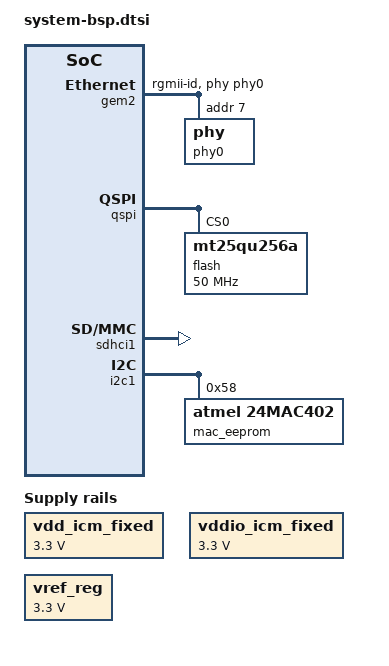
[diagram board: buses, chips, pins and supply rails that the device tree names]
#include "include/dt-bindings/input/input.h"
#include "include/dt-bindings/interrupt-controller/irq.h"
#include "include/dt-bindings/gpio/gpio.h"
#include "include/dt-bindings/pinctrl/pinctrl-zynqmp.h"
#include "include/dt-bindings/phy/phy.h"

/ {
   chosen {
      bootargs = "earlycon console=ttyPS0,115200 clk_ignore_unused root=/dev/mmcblk0p2 rw rootwait cma=512M";
      xlnx,eeprom= &mac_eeprom;
   };

   xlnk {
      compatible = "xlnx,xlnk-1.0";
   };

   vdd_icm_fixed: vdd_icm_fixed {
         compatible = "regulator-fixed";
         regulator-name = "vdd_icm_fixed";
         regulator-min-microvolt = <3300000>;
         regulator-max-microvolt = <3300000>;
         regulator-always-on;
         regulator-boot-on;
   };

   vddio_icm_fixed: vddio_icm_fixed {
         compatible = "regulator-fixed";
         regulator-name = "vddio_icm_fixed";
         regulator-min-microvolt = <3300000>;
         regulator-max-microvolt = <3300000>;
         regulator-always-on;
         regulator-boot-on;
   };

   vref_reg: vref_reg {
         compatible = "regulator-fixed";
         regulator-name = "vref_reg";
         regulator-min-microvolt = <3300000>;
         regulator-max-microvolt = <3300000>;
         regulator-always-on;
         regulator-boot-on;
   };

};

&gem2 {
   status = "okay";
   local-mac-address = [00 0a 35 00 02 90];
   phy-mode = "rgmii-id";
   phy-handle = <&phy0>;
   phy0: phy@7 {
      reg = <0x7>;
   };
};

/* QSPI partitions are defined with petalinux-config and described in system.conf.dtsi */
&qspi { /* MIO 0-5 - U10 */
   flash@0 { /* ISSI IS25WP256E */
      compatible = "mt25qu256a", "jedec,spi-nor"; /* 32MB */
      #address-cells = <1>;
      #size-cells = <1>;
      reg = <0>;
      spi-tx-bus-width = <1>;
      spi-rx-bus-width = <4>;
      spi-max-frequency = <50000000>; /* 50MHz */
   };

};

/* SD1 for SD card boot */
/* SD1 with level shifter */
/* only supports 3.3V, no level shifter */
&sdhci1 {
   status = "okay";
   no-1-8-v;
   disable-wp;
};

&amba_pl {
	zocl: zyxclmm_drm {
		compatible = "xlnx,zocl";
		status = "okay";
		interrupt-parent = <&gic>;
		interrupts = <0 104 4>, <0 105 4>, <0 106 4>, <0 107 4>,
			     <0 108 4>, <0 109 4>, <0 110 4>, <0 111 4>;
	};
};

/* Vitis interrupt connected at PS interrupt offset [6] (89+6=95) */
/* This description may be missing/incorrect in the pl.dtsi, so we add/fix it here */
&axi_intc_0 {
   compatible = "xlnx,xps-intc-1.00.a";
   interrupt-parent = <&gic>;
   interrupts = <0 95 1>;
};

&i2c1 {
   #address-cells = <1>;
   #size-cells = <0>;
   /* Ethernet MAC ID EEPROM */
   mac_eeprom: mac_eeprom@58 { /* U7 */
      compatible = "atmel,24mac402";
      reg = <0x58>;
   };
};

&gem2 {
   local-mac-address = [ff ff ff ff ff ff];
};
